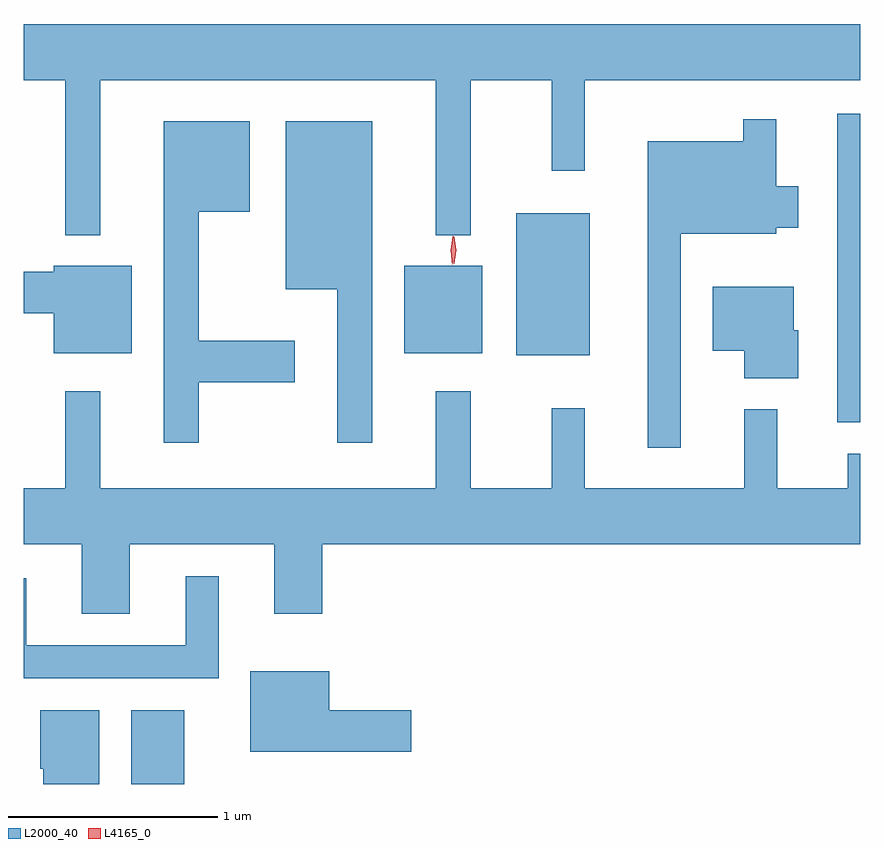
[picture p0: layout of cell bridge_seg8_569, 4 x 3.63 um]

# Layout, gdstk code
import gdstk
lib = gdstk.Library(unit=1e-6, precision=1e-09)
def R(c, l, rs):  # rectangles x0, y0, x1, y1
    for r in rs: c.add(gdstk.rectangle(r[:2], r[2:], *l))
def P(c, l, *ps):  # polygons
    for p in ps: c.add(gdstk.Polygon(p, *l))
L2000_40 = (2000, 40)
L4165_0 = (4165, 0)

bridge_seg8_569 = lib.new_cell('bridge_seg8_569')
R(bridge_seg8_569, L2000_40, [(546.446,1808.631,546.699,1808.984), (549.821,1810.361,549.932,1811.834), (548.286,1810.681,548.639,1811.359), (547.751,1810.691,548.124,1811.109)])
P(bridge_seg8_569, L2000_40, [(546.299,1811.996),(547.901,1811.996),(547.901,1811.253),(548.069,1811.253),(548.069,1811.996),(548.456,1811.996),(548.456,1811.563),(548.614,1811.563),(548.614,1811.996),(549.932,1811.996),(549.932,1812.264),(545.932,1812.264),(545.932,1811.996),(546.131,1811.996),(546.131,1811.253),(546.299,1811.253)],
  [(549.074,1811.261),(549.529,1811.261),(549.529,1811.291),(549.634,1811.291),(549.634,1811.489),(549.529,1811.489),(549.529,1811.808),(549.371,1811.808),(549.371,1811.704),(548.916,1811.704),(548.916,1810.238),(549.074,1810.238)],
  [(546.769,1810.551),(547.229,1810.551),(547.229,1810.749),(546.769,1810.749),(546.769,1811.366),(547.014,1811.366),(547.014,1811.799),(546.601,1811.799),(546.601,1810.263),(546.769,1810.263)],
  [(547.599,1811.799),(547.186,1811.799),(547.186,1810.996),(547.431,1810.996),(547.431,1810.263),(547.599,1810.263)],
  [(546.449,1811.109),(546.076,1811.109),(546.076,1811.079),(545.932,1811.079),(545.932,1810.881),(546.076,1810.881),(546.076,1810.691),(546.449,1810.691)],
  [(549.634,1810.799),(549.614,1810.799),(549.614,1811.009),(549.226,1811.009),(549.226,1810.701),(549.376,1810.701),(549.376,1810.571),(549.634,1810.571)],
  [(546.439,1809.776),(547.131,1809.776),(547.131,1809.446),(547.359,1809.446),(547.359,1809.776),(549.932,1809.776),(549.932,1810.209),(549.871,1810.209),(549.871,1810.044),(549.534,1810.044),(549.534,1810.423),(549.376,1810.423),(549.376,1810.044),(548.614,1810.044),(548.614,1810.428),(548.456,1810.428),(548.456,1810.044),(548.069,1810.044),(548.069,1810.508),(547.901,1810.508),(547.901,1810.044),(546.299,1810.044),(546.299,1810.508),(546.131,1810.508),(546.131,1810.044),(545.932,1810.044),(545.932,1809.776),(546.211,1809.776),(546.211,1809.446),(546.439,1809.446)],
  [(546.864,1809.623),(546.706,1809.623),(546.706,1809.294),(545.944,1809.294),(545.944,1809.614),(545.932,1809.614),(545.932,1809.136),(546.864,1809.136)],
  [(547.784,1808.984),(547.394,1808.984),(547.394,1809.169),(547.016,1809.169),(547.016,1808.786),(547.784,1808.786)],
  [(546.294,1808.984),(546.011,1808.984),(546.011,1808.705),(546.026,1808.705),(546.026,1808.631),(546.294,1808.631)])
P(bridge_seg8_569, L4165_0, [(547.989,1811.118),(547.989,1811.118),(547.979,1811.183),(547.989,1811.247),(547.989,1811.247),(547.99,1811.247),(547.999,1811.183),(547.99,1811.118)],
  [(547.981,1811.114),(547.981,1811.114),(547.973,1811.182),(547.984,1811.25),(547.985,1811.25),(547.985,1811.25),(547.993,1811.182),(547.982,1811.114)])

lib.write_gds('bridge_seg8_569.gds')
